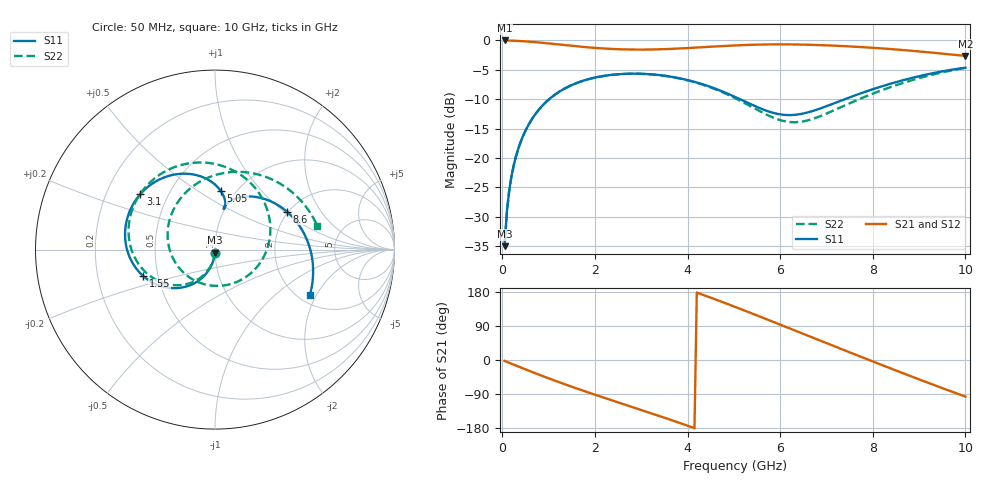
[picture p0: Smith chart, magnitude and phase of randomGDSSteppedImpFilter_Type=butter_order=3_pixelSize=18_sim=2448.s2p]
! freq	dB(S11)	phase(S11)	dB(S12)	phase(S12)
!  dB(S21)	phase(S21)	dB(S22)	phase(S22)
!S-par simulation data
#  GHz  S  DB  R 50
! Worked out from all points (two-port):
!   200 points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, 50 MHz to 10 GHz, reference 50 ohm
!   highest |S21| = 0.00 dB at 50 MHz (marker M1); lowest = -2.6 dB at 10 GHz (marker M2)
!   |S21| within 3 dB of the highest: start of sweep to end of sweep
!   lowest |S11| = -35.0 dB at 50 MHz (marker M3), VSWR 1.04, Z = 49.9 - j1.77 ohm
!   |S11| at or under -10 dB: start of sweep to 1.012 GHz; 5.133 GHz to 7.396 GHz (2.262 GHz wide, 36.1 % of centre)
!   |S22| runs from -35.0 to -4.7 dB; largest |S21 - S12| = 0
!   S11 on the Smith chart (normalised r, x): 50 MHz: 1.00, -0.04; 1.55 GHz: 0.41, -0.15; 3.1 GHz: 0.35, +0.29; 5.05 GHz: 0.86, +0.63; 8.6 GHz: 1.97, +1.05; 10 GHz: 2.30, -1.77
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0.05  -35.01 -92.4  -0.00 -2.5  -0.00 -2.5  -35.01 -92.7
0.1  -29.01 -95.0  -0.01 -5.0  -0.01 -5.0  -29.01 -95.5
0.2  -23.05 -100.0  -0.04 -10.0  -0.04 -10.0  -23.05 -100.9
0.45  -16.23 -111.9  -0.13 -22.3  -0.13 -22.3  -16.23 -113.9
1  -10.08 -136.7  -0.51 -48.4  -0.51 -48.4  -10.08 -141.2
1.55  -7.42 -159.6  -0.96 -72.7  -0.96 -72.7  -7.42 -167.0
1.75  -6.85 -167.5  -1.11 -81.2  -1.11 -81.2  -6.85 -176.1
2.4  -5.83 168.2  -1.46 -107.7  -1.46 -107.7  -5.83 155.1
3.1  -5.71 143.4  -1.55 -135.9  -1.55 -135.9  -5.72 123.8
3.4  -5.91 133.1  -1.51 -148.1  -1.51 -148.1  -5.92 109.8
4.25  -7.27 105.3  -1.19 175.7  -1.19 175.7  -7.33 66.1
5.05  -9.70 84.2  -0.84 139.1  -0.84 139.1  -9.91 15.8
5.5  -11.32 77.8  -0.72 117.7  -0.72 117.7  -11.79 -19.6
5.9  -12.43 76.8  -0.67 98.3  -0.67 98.3  -13.29 -57.1
6.3  -12.67 78.1  -0.68 78.7  -0.68 78.7  -13.92 -99.2
6.7  -12.02 77.3  -0.75 59.2  -0.75 59.2  -13.36 -140.4
7.15  -10.74 71.3  -0.88 37.3  -0.88 37.3  -11.93 179.7
7.55  -9.54 62.0  -1.04 17.9  -1.04 17.9  -10.52 149.5
8.35  -7.44 36.8  -1.45 -20.5  -1.45 -20.5  -8.03 98.4
8.6  -6.88 27.9  -1.60 -32.4  -1.60 -32.4  -7.37 84.0
9.3  -5.57 1.6  -2.09 -65.0  -2.09 -65.0  -5.80 46.9
10  -4.64 -25.5  -2.64 -96.5  -2.64 -96.5  -4.66 13.3
